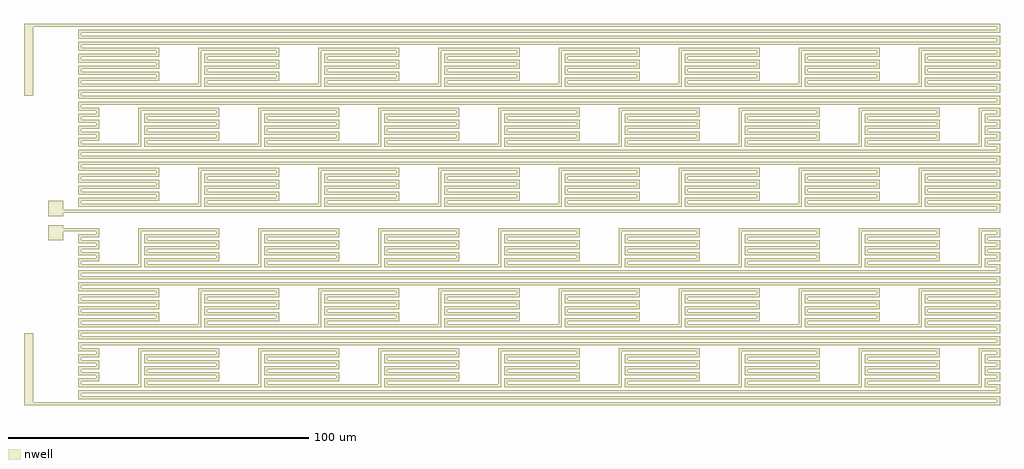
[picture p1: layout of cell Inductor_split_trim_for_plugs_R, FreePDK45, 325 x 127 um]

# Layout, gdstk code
import gdstk
lib = gdstk.Library(unit=1e-6, precision=1e-09)
def R(c, l, rs):  # rectangles x0, y0, x1, y1
    for r in rs: c.add(gdstk.rectangle(r[:2], r[2:], *l))
def P(c, l, *ps):  # polygons
    for p in ps: c.add(gdstk.Polygon(p, *l))
nwell = (3, 0)

inductor_split_trim_for_ = lib.new_cell('Inductor_split_trim_for_plugs_R')
R(inductor_split_trim_for_, nwell, [(-162.5,-63.5,-144.5,-62.5), (-144.5,-63.5,22.5,-62.5), (-162.5,-63,-159.5,-39.5), (-154.5,-8.5,-149.5,-3.5), (-149.5,-5.5,-144.5,-4.5), (-154.5,-0.5,-149.5,4.5), (-149.5,0.5,-144.5,1.5), (-144.5,0.5,17.5,1.5), (-162.5,39.5,-159.5,63), (-162.5,62.5,-144.5,63.5), (-144.5,62.5,2.5,63.5)])
P(inductor_split_trim_for_, nwell, [(-137.5,29.5),(-137.5,28.5),(-143.5,28.5),(-143.5,27.5),(-137.5,27.5),(-137.5,24.5),(-143.5,24.5),(-143.5,23.5),(-124.5,23.5),(-124.5,29.5),(-123.5,29.5),(-123.5,22.5),(-144.5,22.5),(-144.5,25.5),(-138.5,25.5),(-138.5,26.5),(-144.5,26.5),(-144.5,29.5)],
  [(-97.5,29.5),(-97.5,28.5),(-121.5,28.5),(-121.5,27.5),(-97.5,27.5),(-97.5,24.5),(-121.5,24.5),(-121.5,23.5),(-84.5,23.5),(-84.5,29.5),(-83.5,29.5),(-83.5,22.5),(-122.5,22.5),(-122.5,25.5),(-98.5,25.5),(-98.5,26.5),(-122.5,26.5),(-122.5,29.5)],
  [(-57.5,29.5),(-57.5,28.5),(-81.5,28.5),(-81.5,27.5),(-57.5,27.5),(-57.5,24.5),(-81.5,24.5),(-81.5,23.5),(-44.5,23.5),(-44.5,29.5),(-43.5,29.5),(-43.5,22.5),(-82.5,22.5),(-82.5,25.5),(-58.5,25.5),(-58.5,26.5),(-82.5,26.5),(-82.5,29.5)],
  [(-17.5,29.5),(-17.5,28.5),(-41.5,28.5),(-41.5,27.5),(-17.5,27.5),(-17.5,24.5),(-41.5,24.5),(-41.5,23.5),(-4.5,23.5),(-4.5,29.5),(-3.5,29.5),(-3.5,22.5),(-42.5,22.5),(-42.5,25.5),(-18.5,25.5),(-18.5,26.5),(-42.5,26.5),(-42.5,29.5)],
  [(22.5,29.5),(22.5,28.5),(-1.5,28.5),(-1.5,27.5),(22.5,27.5),(22.5,24.5),(-1.5,24.5),(-1.5,23.5),(35.5,23.5),(35.5,29.5),(36.5,29.5),(36.5,22.5),(-2.5,22.5),(-2.5,25.5),(21.5,25.5),(21.5,26.5),(-2.5,26.5),(-2.5,29.5)],
  [(62.5,29.5),(62.5,28.5),(38.5,28.5),(38.5,27.5),(62.5,27.5),(62.5,24.5),(38.5,24.5),(38.5,23.5),(75.5,23.5),(75.5,29.5),(76.5,29.5),(76.5,22.5),(37.5,22.5),(37.5,25.5),(61.5,25.5),(61.5,26.5),(37.5,26.5),(37.5,29.5)],
  [(102.5,29.5),(102.5,28.5),(78.5,28.5),(78.5,27.5),(102.5,27.5),(102.5,24.5),(78.5,24.5),(78.5,23.5),(115.5,23.5),(115.5,29.5),(116.5,29.5),(116.5,22.5),(77.5,22.5),(77.5,25.5),(101.5,25.5),(101.5,26.5),(77.5,26.5),(77.5,29.5)],
  [(142.5,29.5),(142.5,28.5),(118.5,28.5),(118.5,27.5),(142.5,27.5),(142.5,24.5),(118.5,24.5),(118.5,23.5),(155.5,23.5),(155.5,29.5),(156.5,29.5),(156.5,22.5),(117.5,22.5),(117.5,25.5),(141.5,25.5),(141.5,26.5),(117.5,26.5),(117.5,29.5)],
  [(-124.5,29.5),(-124.5,35.5),(-97.5,35.5),(-97.5,32.5),(-121.5,32.5),(-121.5,31.5),(-97.5,31.5),(-97.5,29.5),(-98.5,29.5),(-98.5,30.5),(-122.5,30.5),(-122.5,33.5),(-98.5,33.5),(-98.5,34.5),(-123.5,34.5),(-123.5,29.5)],
  [(-84.5,29.5),(-84.5,35.5),(-57.5,35.5),(-57.5,32.5),(-81.5,32.5),(-81.5,31.5),(-57.5,31.5),(-57.5,29.5),(-58.5,29.5),(-58.5,30.5),(-82.5,30.5),(-82.5,33.5),(-58.5,33.5),(-58.5,34.5),(-83.5,34.5),(-83.5,29.5)],
  [(-44.5,29.5),(-44.5,35.5),(-17.5,35.5),(-17.5,32.5),(-41.5,32.5),(-41.5,31.5),(-17.5,31.5),(-17.5,29.5),(-18.5,29.5),(-18.5,30.5),(-42.5,30.5),(-42.5,33.5),(-18.5,33.5),(-18.5,34.5),(-43.5,34.5),(-43.5,29.5)],
  [(-4.5,29.5),(-4.5,35.5),(22.5,35.5),(22.5,32.5),(-1.5,32.5),(-1.5,31.5),(22.5,31.5),(22.5,29.5),(21.5,29.5),(21.5,30.5),(-2.5,30.5),(-2.5,33.5),(21.5,33.5),(21.5,34.5),(-3.5,34.5),(-3.5,29.5)],
  [(35.5,29.5),(35.5,35.5),(62.5,35.5),(62.5,32.5),(38.5,32.5),(38.5,31.5),(62.5,31.5),(62.5,29.5),(61.5,29.5),(61.5,30.5),(37.5,30.5),(37.5,33.5),(61.5,33.5),(61.5,34.5),(36.5,34.5),(36.5,29.5)],
  [(75.5,29.5),(75.5,35.5),(102.5,35.5),(102.5,32.5),(78.5,32.5),(78.5,31.5),(102.5,31.5),(102.5,29.5),(101.5,29.5),(101.5,30.5),(77.5,30.5),(77.5,33.5),(101.5,33.5),(101.5,34.5),(76.5,34.5),(76.5,29.5)],
  [(115.5,29.5),(115.5,35.5),(142.5,35.5),(142.5,32.5),(118.5,32.5),(118.5,31.5),(142.5,31.5),(142.5,29.5),(141.5,29.5),(141.5,30.5),(117.5,30.5),(117.5,33.5),(141.5,33.5),(141.5,34.5),(116.5,34.5),(116.5,29.5)],
  [(155.5,29.5),(155.5,35.5),(162.5,35.5),(162.5,32.5),(158.5,32.5),(158.5,31.5),(162.5,31.5),(162.5,29.5),(161.5,29.5),(161.5,30.5),(157.5,30.5),(157.5,33.5),(161.5,33.5),(161.5,34.5),(156.5,34.5),(156.5,29.5)],
  [(17.5,14.5),(16.5,14.5),(16.5,2.5),(-22.5,2.5),(-22.5,5.5),(1.5,5.5),(1.5,6.5),(-22.5,6.5),(-22.5,9.5),(1.5,9.5),(1.5,10.5),(-22.5,10.5),(-22.5,13.5),(1.5,13.5),(1.5,14.5),(-23.5,14.5),(-23.5,2.5),(-62.5,2.5),(-62.5,5.5),(-38.5,5.5),(-38.5,6.5),(-62.5,6.5),(-62.5,9.5),(-38.5,9.5),(-38.5,10.5),(-62.5,10.5),(-62.5,13.5),(-38.5,13.5),(-38.5,14.5),(-63.5,14.5),(-63.5,2.5),(-102.5,2.5),(-102.5,5.5),(-78.5,5.5),(-78.5,6.5),(-102.5,6.5),(-102.5,9.5),(-78.5,9.5),(-78.5,10.5),(-102.5,10.5),(-102.5,13.5),(-78.5,13.5),(-78.5,14.5),(-103.5,14.5),(-103.5,2.5),(-144.5,2.5),(-144.5,5.5),(-118.5,5.5),(-118.5,6.5),(-144.5,6.5),(-144.5,9.5),(-118.5,9.5),(-118.5,10.5),(-144.5,10.5),(-144.5,13.5),(-118.5,13.5),(-118.5,14.5),(-144.5,14.5),(-144.5,17.5),(17.5,17.5),(17.5,16.5),(-143.5,16.5),(-143.5,15.5),(-117.5,15.5),(-117.5,12.5),(-143.5,12.5),(-143.5,11.5),(-117.5,11.5),(-117.5,8.5),(-143.5,8.5),(-143.5,7.5),(-117.5,7.5),(-117.5,4.5),(-143.5,4.5),(-143.5,3.5),(-104.5,3.5),(-104.5,15.5),(-77.5,15.5),(-77.5,12.5),(-101.5,12.5),(-101.5,11.5),(-77.5,11.5),(-77.5,8.5),(-101.5,8.5),(-101.5,7.5),(-77.5,7.5),(-77.5,4.5),(-101.5,4.5),(-101.5,3.5),(-64.5,3.5),(-64.5,15.5),(-37.5,15.5),(-37.5,12.5),(-61.5,12.5),(-61.5,11.5),(-37.5,11.5),(-37.5,8.5),(-61.5,8.5),(-61.5,7.5),(-37.5,7.5),(-37.5,4.5),(-61.5,4.5),(-61.5,3.5),(-24.5,3.5),(-24.5,15.5),(2.5,15.5),(2.5,12.5),(-21.5,12.5),(-21.5,11.5),(2.5,11.5),(2.5,8.5),(-21.5,8.5),(-21.5,7.5),(2.5,7.5),(2.5,4.5),(-21.5,4.5),(-21.5,3.5),(15.5,3.5),(15.5,15.5),(17.5,15.5)],
  [(17.5,18.5),(-144.5,18.5),(-144.5,21.5),(17.5,21.5),(17.5,20.5),(-143.5,20.5),(-143.5,19.5),(17.5,19.5)],
  [(17.5,1.5),(161.5,1.5),(161.5,2.5),(137.5,2.5),(137.5,5.5),(161.5,5.5),(161.5,6.5),(137.5,6.5),(137.5,9.5),(161.5,9.5),(161.5,10.5),(137.5,10.5),(137.5,13.5),(161.5,13.5),(161.5,14.5),(136.5,14.5),(136.5,2.5),(97.5,2.5),(97.5,5.5),(121.5,5.5),(121.5,6.5),(97.5,6.5),(97.5,9.5),(121.5,9.5),(121.5,10.5),(97.5,10.5),(97.5,13.5),(121.5,13.5),(121.5,14.5),(96.5,14.5),(96.5,2.5),(57.5,2.5),(57.5,5.5),(81.5,5.5),(81.5,6.5),(57.5,6.5),(57.5,9.5),(81.5,9.5),(81.5,10.5),(57.5,10.5),(57.5,13.5),(81.5,13.5),(81.5,14.5),(56.5,14.5),(56.5,2.5),(17.5,2.5),(17.5,5.5),(41.5,5.5),(41.5,6.5),(17.5,6.5),(17.5,9.5),(41.5,9.5),(41.5,10.5),(17.5,10.5),(17.5,13.5),(41.5,13.5),(41.5,14.5),(17.5,14.5),(17.5,15.5),(42.5,15.5),(42.5,12.5),(18.5,12.5),(18.5,11.5),(42.5,11.5),(42.5,8.5),(18.5,8.5),(18.5,7.5),(42.5,7.5),(42.5,4.5),(18.5,4.5),(18.5,3.5),(55.5,3.5),(55.5,15.5),(82.5,15.5),(82.5,12.5),(58.5,12.5),(58.5,11.5),(82.5,11.5),(82.5,8.5),(58.5,8.5),(58.5,7.5),(82.5,7.5),(82.5,4.5),(58.5,4.5),(58.5,3.5),(95.5,3.5),(95.5,15.5),(122.5,15.5),(122.5,12.5),(98.5,12.5),(98.5,11.5),(122.5,11.5),(122.5,8.5),(98.5,8.5),(98.5,7.5),(122.5,7.5),(122.5,4.5),(98.5,4.5),(98.5,3.5),(135.5,3.5),(135.5,15.5),(162.5,15.5),(162.5,12.5),(138.5,12.5),(138.5,11.5),(162.5,11.5),(162.5,8.5),(138.5,8.5),(138.5,7.5),(162.5,7.5),(162.5,4.5),(138.5,4.5),(138.5,3.5),(162.5,3.5),(162.5,0.5),(17.5,0.5)],
  [(17.5,17.5),(161.5,17.5),(161.5,18.5),(17.5,18.5),(17.5,19.5),(162.5,19.5),(162.5,16.5),(17.5,16.5)],
  [(17.5,21.5),(161.5,21.5),(161.5,22.5),(157.5,22.5),(157.5,25.5),(161.5,25.5),(161.5,26.5),(157.5,26.5),(157.5,29.5),(162.5,29.5),(162.5,28.5),(158.5,28.5),(158.5,27.5),(162.5,27.5),(162.5,24.5),(158.5,24.5),(158.5,23.5),(162.5,23.5),(162.5,20.5),(17.5,20.5)],
  [(2.5,36.5),(-143.5,36.5),(-143.5,35.5),(-137.5,35.5),(-137.5,32.5),(-143.5,32.5),(-143.5,31.5),(-137.5,31.5),(-137.5,29.5),(-138.5,29.5),(-138.5,30.5),(-144.5,30.5),(-144.5,33.5),(-138.5,33.5),(-138.5,34.5),(-144.5,34.5),(-144.5,37.5),(2.5,37.5)],
  [(2.5,38.5),(-144.5,38.5),(-144.5,41.5),(2.5,41.5),(2.5,40.5),(-143.5,40.5),(-143.5,39.5),(2.5,39.5)],
  [(2.5,42.5),(-22.5,42.5),(-22.5,45.5),(1.5,45.5),(1.5,46.5),(-22.5,46.5),(-22.5,49.5),(1.5,49.5),(1.5,50.5),(-22.5,50.5),(-22.5,53.5),(1.5,53.5),(1.5,54.5),(-23.5,54.5),(-23.5,42.5),(-62.5,42.5),(-62.5,45.5),(-38.5,45.5),(-38.5,46.5),(-62.5,46.5),(-62.5,49.5),(-38.5,49.5),(-38.5,50.5),(-62.5,50.5),(-62.5,53.5),(-38.5,53.5),(-38.5,54.5),(-63.5,54.5),(-63.5,42.5),(-102.5,42.5),(-102.5,45.5),(-78.5,45.5),(-78.5,46.5),(-102.5,46.5),(-102.5,49.5),(-78.5,49.5),(-78.5,50.5),(-102.5,50.5),(-102.5,53.5),(-78.5,53.5),(-78.5,54.5),(-103.5,54.5),(-103.5,42.5),(-144.5,42.5),(-144.5,45.5),(-118.5,45.5),(-118.5,46.5),(-144.5,46.5),(-144.5,49.5),(-118.5,49.5),(-118.5,50.5),(-144.5,50.5),(-144.5,53.5),(-118.5,53.5),(-118.5,54.5),(-144.5,54.5),(-144.5,57.5),(2.5,57.5),(2.5,56.5),(-143.5,56.5),(-143.5,55.5),(-117.5,55.5),(-117.5,52.5),(-143.5,52.5),(-143.5,51.5),(-117.5,51.5),(-117.5,48.5),(-143.5,48.5),(-143.5,47.5),(-117.5,47.5),(-117.5,44.5),(-143.5,44.5),(-143.5,43.5),(-104.5,43.5),(-104.5,55.5),(-77.5,55.5),(-77.5,52.5),(-101.5,52.5),(-101.5,51.5),(-77.5,51.5),(-77.5,48.5),(-101.5,48.5),(-101.5,47.5),(-77.5,47.5),(-77.5,44.5),(-101.5,44.5),(-101.5,43.5),(-64.5,43.5),(-64.5,55.5),(-37.5,55.5),(-37.5,52.5),(-61.5,52.5),(-61.5,51.5),(-37.5,51.5),(-37.5,48.5),(-61.5,48.5),(-61.5,47.5),(-37.5,47.5),(-37.5,44.5),(-61.5,44.5),(-61.5,43.5),(-24.5,43.5),(-24.5,55.5),(2.5,55.5),(2.5,52.5),(-21.5,52.5),(-21.5,51.5),(2.5,51.5),(2.5,48.5),(-21.5,48.5),(-21.5,47.5),(2.5,47.5),(2.5,44.5),(-21.5,44.5),(-21.5,43.5),(2.5,43.5)],
  [(2.5,58.5),(-144.5,58.5),(-144.5,61.5),(2.5,61.5),(2.5,60.5),(-143.5,60.5),(-143.5,59.5),(2.5,59.5)],
  [(2.5,37.5),(161.5,37.5),(161.5,38.5),(2.5,38.5),(2.5,39.5),(162.5,39.5),(162.5,36.5),(2.5,36.5)],
  [(2.5,41.5),(161.5,41.5),(161.5,42.5),(137.5,42.5),(137.5,45.5),(161.5,45.5),(161.5,46.5),(137.5,46.5),(137.5,49.5),(161.5,49.5),(161.5,50.5),(137.5,50.5),(137.5,53.5),(161.5,53.5),(161.5,54.5),(136.5,54.5),(136.5,42.5),(97.5,42.5),(97.5,45.5),(121.5,45.5),(121.5,46.5),(97.5,46.5),(97.5,49.5),(121.5,49.5),(121.5,50.5),(97.5,50.5),(97.5,53.5),(121.5,53.5),(121.5,54.5),(96.5,54.5),(96.5,42.5),(57.5,42.5),(57.5,45.5),(81.5,45.5),(81.5,46.5),(57.5,46.5),(57.5,49.5),(81.5,49.5),(81.5,50.5),(57.5,50.5),(57.5,53.5),(81.5,53.5),(81.5,54.5),(56.5,54.5),(56.5,42.5),(17.5,42.5),(17.5,45.5),(41.5,45.5),(41.5,46.5),(17.5,46.5),(17.5,49.5),(41.5,49.5),(41.5,50.5),(17.5,50.5),(17.5,53.5),(41.5,53.5),(41.5,54.5),(16.5,54.5),(16.5,42.5),(2.5,42.5),(2.5,43.5),(15.5,43.5),(15.5,55.5),(42.5,55.5),(42.5,52.5),(18.5,52.5),(18.5,51.5),(42.5,51.5),(42.5,48.5),(18.5,48.5),(18.5,47.5),(42.5,47.5),(42.5,44.5),(18.5,44.5),(18.5,43.5),(55.5,43.5),(55.5,55.5),(82.5,55.5),(82.5,52.5),(58.5,52.5),(58.5,51.5),(82.5,51.5),(82.5,48.5),(58.5,48.5),(58.5,47.5),(82.5,47.5),(82.5,44.5),(58.5,44.5),(58.5,43.5),(95.5,43.5),(95.5,55.5),(122.5,55.5),(122.5,52.5),(98.5,52.5),(98.5,51.5),(122.5,51.5),(122.5,48.5),(98.5,48.5),(98.5,47.5),(122.5,47.5),(122.5,44.5),(98.5,44.5),(98.5,43.5),(135.5,43.5),(135.5,55.5),(162.5,55.5),(162.5,52.5),(138.5,52.5),(138.5,51.5),(162.5,51.5),(162.5,48.5),(138.5,48.5),(138.5,47.5),(162.5,47.5),(162.5,44.5),(138.5,44.5),(138.5,43.5),(162.5,43.5),(162.5,40.5),(2.5,40.5)],
  [(2.5,57.5),(161.5,57.5),(161.5,58.5),(2.5,58.5),(2.5,59.5),(162.5,59.5),(162.5,56.5),(2.5,56.5)],
  [(2.5,61.5),(161.5,61.5),(161.5,62.5),(2.5,62.5),(2.5,63.5),(162.5,63.5),(162.5,60.5),(2.5,60.5)],
  [(-143.5,-31.5),(-143.5,-32.5),(-117.5,-32.5),(-117.5,-35.5),(-143.5,-35.5),(-143.5,-36.5),(-104.5,-36.5),(-104.5,-31.5),(-103.5,-31.5),(-103.5,-37.5),(-144.5,-37.5),(-144.5,-34.5),(-118.5,-34.5),(-118.5,-33.5),(-144.5,-33.5),(-144.5,-31.5)],
  [(-101.5,-31.5),(-101.5,-32.5),(-77.5,-32.5),(-77.5,-35.5),(-101.5,-35.5),(-101.5,-36.5),(-64.5,-36.5),(-64.5,-31.5),(-63.5,-31.5),(-63.5,-37.5),(-102.5,-37.5),(-102.5,-34.5),(-78.5,-34.5),(-78.5,-33.5),(-102.5,-33.5),(-102.5,-31.5)],
  [(-61.5,-31.5),(-61.5,-32.5),(-37.5,-32.5),(-37.5,-35.5),(-61.5,-35.5),(-61.5,-36.5),(-24.5,-36.5),(-24.5,-31.5),(-23.5,-31.5),(-23.5,-37.5),(-62.5,-37.5),(-62.5,-34.5),(-38.5,-34.5),(-38.5,-33.5),(-62.5,-33.5),(-62.5,-31.5)],
  [(-21.5,-31.5),(-21.5,-32.5),(2.5,-32.5),(2.5,-35.5),(-21.5,-35.5),(-21.5,-36.5),(15.5,-36.5),(15.5,-31.5),(16.5,-31.5),(16.5,-37.5),(-22.5,-37.5),(-22.5,-34.5),(1.5,-34.5),(1.5,-33.5),(-22.5,-33.5),(-22.5,-31.5)],
  [(18.5,-31.5),(18.5,-32.5),(42.5,-32.5),(42.5,-35.5),(18.5,-35.5),(18.5,-36.5),(55.5,-36.5),(55.5,-31.5),(56.5,-31.5),(56.5,-37.5),(17.5,-37.5),(17.5,-34.5),(41.5,-34.5),(41.5,-33.5),(17.5,-33.5),(17.5,-31.5)],
  [(58.5,-31.5),(58.5,-32.5),(82.5,-32.5),(82.5,-35.5),(58.5,-35.5),(58.5,-36.5),(95.5,-36.5),(95.5,-31.5),(96.5,-31.5),(96.5,-37.5),(57.5,-37.5),(57.5,-34.5),(81.5,-34.5),(81.5,-33.5),(57.5,-33.5),(57.5,-31.5)],
  [(98.5,-31.5),(98.5,-32.5),(122.5,-32.5),(122.5,-35.5),(98.5,-35.5),(98.5,-36.5),(135.5,-36.5),(135.5,-31.5),(136.5,-31.5),(136.5,-37.5),(97.5,-37.5),(97.5,-34.5),(121.5,-34.5),(121.5,-33.5),(97.5,-33.5),(97.5,-31.5)],
  [(-104.5,-31.5),(-104.5,-24.5),(-77.5,-24.5),(-77.5,-27.5),(-101.5,-27.5),(-101.5,-28.5),(-77.5,-28.5),(-77.5,-31.5),(-102.5,-31.5),(-102.5,-30.5),(-78.5,-30.5),(-78.5,-29.5),(-102.5,-29.5),(-102.5,-26.5),(-78.5,-26.5),(-78.5,-25.5),(-103.5,-25.5),(-103.5,-31.5)],
  [(-64.5,-31.5),(-64.5,-24.5),(-37.5,-24.5),(-37.5,-27.5),(-61.5,-27.5),(-61.5,-28.5),(-37.5,-28.5),(-37.5,-31.5),(-62.5,-31.5),(-62.5,-30.5),(-38.5,-30.5),(-38.5,-29.5),(-62.5,-29.5),(-62.5,-26.5),(-38.5,-26.5),(-38.5,-25.5),(-63.5,-25.5),(-63.5,-31.5)],
  [(-24.5,-31.5),(-24.5,-24.5),(2.5,-24.5),(2.5,-27.5),(-21.5,-27.5),(-21.5,-28.5),(2.5,-28.5),(2.5,-31.5),(-22.5,-31.5),(-22.5,-30.5),(1.5,-30.5),(1.5,-29.5),(-22.5,-29.5),(-22.5,-26.5),(1.5,-26.5),(1.5,-25.5),(-23.5,-25.5),(-23.5,-31.5)],
  [(15.5,-31.5),(15.5,-24.5),(42.5,-24.5),(42.5,-27.5),(18.5,-27.5),(18.5,-28.5),(42.5,-28.5),(42.5,-31.5),(17.5,-31.5),(17.5,-30.5),(41.5,-30.5),(41.5,-29.5),(17.5,-29.5),(17.5,-26.5),(41.5,-26.5),(41.5,-25.5),(16.5,-25.5),(16.5,-31.5)],
  [(55.5,-31.5),(55.5,-24.5),(82.5,-24.5),(82.5,-27.5),(58.5,-27.5),(58.5,-28.5),(82.5,-28.5),(82.5,-31.5),(57.5,-31.5),(57.5,-30.5),(81.5,-30.5),(81.5,-29.5),(57.5,-29.5),(57.5,-26.5),(81.5,-26.5),(81.5,-25.5),(56.5,-25.5),(56.5,-31.5)],
  [(95.5,-31.5),(95.5,-24.5),(122.5,-24.5),(122.5,-27.5),(98.5,-27.5),(98.5,-28.5),(122.5,-28.5),(122.5,-31.5),(97.5,-31.5),(97.5,-30.5),(121.5,-30.5),(121.5,-29.5),(97.5,-29.5),(97.5,-26.5),(121.5,-26.5),(121.5,-25.5),(96.5,-25.5),(96.5,-31.5)],
  [(135.5,-31.5),(135.5,-24.5),(162.5,-24.5),(162.5,-27.5),(138.5,-27.5),(138.5,-28.5),(162.5,-28.5),(162.5,-31.5),(137.5,-31.5),(137.5,-30.5),(161.5,-30.5),(161.5,-29.5),(137.5,-29.5),(137.5,-26.5),(161.5,-26.5),(161.5,-25.5),(136.5,-25.5),(136.5,-31.5)],
  [(22.5,-61.5),(-144.5,-61.5),(-144.5,-58.5),(22.5,-58.5),(22.5,-59.5),(-143.5,-59.5),(-143.5,-60.5),(22.5,-60.5)],
  [(22.5,-57.5),(-2.5,-57.5),(-2.5,-54.5),(21.5,-54.5),(21.5,-53.5),(-2.5,-53.5),(-2.5,-50.5),(21.5,-50.5),(21.5,-49.5),(-2.5,-49.5),(-2.5,-46.5),(21.5,-46.5),(21.5,-45.5),(-3.5,-45.5),(-3.5,-57.5),(-42.5,-57.5),(-42.5,-54.5),(-18.5,-54.5),(-18.5,-53.5),(-42.5,-53.5),(-42.5,-50.5),(-18.5,-50.5),(-18.5,-49.5),(-42.5,-49.5),(-42.5,-46.5),(-18.5,-46.5),(-18.5,-45.5),(-43.5,-45.5),(-43.5,-57.5),(-82.5,-57.5),(-82.5,-54.5),(-58.5,-54.5),(-58.5,-53.5),(-82.5,-53.5),(-82.5,-50.5),(-58.5,-50.5),(-58.5,-49.5),(-82.5,-49.5),(-82.5,-46.5),(-58.5,-46.5),(-58.5,-45.5),(-83.5,-45.5),(-83.5,-57.5),(-122.5,-57.5),(-122.5,-54.5),(-98.5,-54.5),(-98.5,-53.5),(-122.5,-53.5),(-122.5,-50.5),(-98.5,-50.5),(-98.5,-49.5),(-122.5,-49.5),(-122.5,-46.5),(-98.5,-46.5),(-98.5,-45.5),(-123.5,-45.5),(-123.5,-57.5),(-144.5,-57.5),(-144.5,-54.5),(-138.5,-54.5),(-138.5,-53.5),(-144.5,-53.5),(-144.5,-50.5),(-138.5,-50.5),(-138.5,-49.5),(-144.5,-49.5),(-144.5,-46.5),(-138.5,-46.5),(-138.5,-45.5),(-144.5,-45.5),(-144.5,-42.5),(22.5,-42.5),(22.5,-43.5),(-143.5,-43.5),(-143.5,-44.5),(-137.5,-44.5),(-137.5,-47.5),(-143.5,-47.5),(-143.5,-48.5),(-137.5,-48.5),(-137.5,-51.5),(-143.5,-51.5),(-143.5,-52.5),(-137.5,-52.5),(-137.5,-55.5),(-143.5,-55.5),(-143.5,-56.5),(-124.5,-56.5),(-124.5,-44.5),(-97.5,-44.5),(-97.5,-47.5),(-121.5,-47.5),(-121.5,-48.5),(-97.5,-48.5),(-97.5,-51.5),(-121.5,-51.5),(-121.5,-52.5),(-97.5,-52.5),(-97.5,-55.5),(-121.5,-55.5),(-121.5,-56.5),(-84.5,-56.5),(-84.5,-44.5),(-57.5,-44.5),(-57.5,-47.5),(-81.5,-47.5),(-81.5,-48.5),(-57.5,-48.5),(-57.5,-51.5),(-81.5,-51.5),(-81.5,-52.5),(-57.5,-52.5),(-57.5,-55.5),(-81.5,-55.5),(-81.5,-56.5),(-44.5,-56.5),(-44.5,-44.5),(-17.5,-44.5),(-17.5,-47.5),(-41.5,-47.5),(-41.5,-48.5),(-17.5,-48.5),(-17.5,-51.5),(-41.5,-51.5),(-41.5,-52.5),(-17.5,-52.5),(-17.5,-55.5),(-41.5,-55.5),(-41.5,-56.5),(-4.5,-56.5),(-4.5,-44.5),(22.5,-44.5),(22.5,-47.5),(-1.5,-47.5),(-1.5,-48.5),(22.5,-48.5),(22.5,-51.5),(-1.5,-51.5),(-1.5,-52.5),(22.5,-52.5),(22.5,-55.5),(-1.5,-55.5),(-1.5,-56.5),(22.5,-56.5)],
  [(22.5,-41.5),(-144.5,-41.5),(-144.5,-38.5),(22.5,-38.5),(22.5,-39.5),(-143.5,-39.5),(-143.5,-40.5),(22.5,-40.5)],
  [(22.5,-62.5),(161.5,-62.5),(161.5,-61.5),(22.5,-61.5),(22.5,-60.5),(162.5,-60.5),(162.5,-63.5),(22.5,-63.5)],
  [(22.5,-58.5),(161.5,-58.5),(161.5,-57.5),(157.5,-57.5),(157.5,-54.5),(161.5,-54.5),(161.5,-53.5),(157.5,-53.5),(157.5,-50.5),(161.5,-50.5),(161.5,-49.5),(157.5,-49.5),(157.5,-46.5),(161.5,-46.5),(161.5,-45.5),(156.5,-45.5),(156.5,-57.5),(117.5,-57.5),(117.5,-54.5),(141.5,-54.5),(141.5,-53.5),(117.5,-53.5),(117.5,-50.5),(141.5,-50.5),(141.5,-49.5),(117.5,-49.5),(117.5,-46.5),(141.5,-46.5),(141.5,-45.5),(116.5,-45.5),(116.5,-57.5),(77.5,-57.5),(77.5,-54.5),(101.5,-54.5),(101.5,-53.5),(77.5,-53.5),(77.5,-50.5),(101.5,-50.5),(101.5,-49.5),(77.5,-49.5),(77.5,-46.5),(101.5,-46.5),(101.5,-45.5),(76.5,-45.5),(76.5,-57.5),(37.5,-57.5),(37.5,-54.5),(61.5,-54.5),(61.5,-53.5),(37.5,-53.5),(37.5,-50.5),(61.5,-50.5),(61.5,-49.5),(37.5,-49.5),(37.5,-46.5),(61.5,-46.5),(61.5,-45.5),(36.5,-45.5),(36.5,-57.5),(22.5,-57.5),(22.5,-56.5),(35.5,-56.5),(35.5,-44.5),(62.5,-44.5),(62.5,-47.5),(38.5,-47.5),(38.5,-48.5),(62.5,-48.5),(62.5,-51.5),(38.5,-51.5),(38.5,-52.5),(62.5,-52.5),(62.5,-55.5),(38.5,-55.5),(38.5,-56.5),(75.5,-56.5),(75.5,-44.5),(102.5,-44.5),(102.5,-47.5),(78.5,-47.5),(78.5,-48.5),(102.5,-48.5),(102.5,-51.5),(78.5,-51.5),(78.5,-52.5),(102.5,-52.5),(102.5,-55.5),(78.5,-55.5),(78.5,-56.5),(115.5,-56.5),(115.5,-44.5),(142.5,-44.5),(142.5,-47.5),(118.5,-47.5),(118.5,-48.5),(142.5,-48.5),(142.5,-51.5),(118.5,-51.5),(118.5,-52.5),(142.5,-52.5),(142.5,-55.5),(118.5,-55.5),(118.5,-56.5),(155.5,-56.5),(155.5,-44.5),(162.5,-44.5),(162.5,-47.5),(158.5,-47.5),(158.5,-48.5),(162.5,-48.5),(162.5,-51.5),(158.5,-51.5),(158.5,-52.5),(162.5,-52.5),(162.5,-55.5),(158.5,-55.5),(158.5,-56.5),(162.5,-56.5),(162.5,-59.5),(22.5,-59.5)],
  [(22.5,-42.5),(161.5,-42.5),(161.5,-41.5),(22.5,-41.5),(22.5,-40.5),(162.5,-40.5),(162.5,-43.5),(22.5,-43.5)],
  [(22.5,-38.5),(161.5,-38.5),(161.5,-37.5),(137.5,-37.5),(137.5,-34.5),(161.5,-34.5),(161.5,-33.5),(137.5,-33.5),(137.5,-31.5),(138.5,-31.5),(138.5,-32.5),(162.5,-32.5),(162.5,-35.5),(138.5,-35.5),(138.5,-36.5),(162.5,-36.5),(162.5,-39.5),(22.5,-39.5)],
  [(-2.5,-23.5),(-143.5,-23.5),(-143.5,-24.5),(-117.5,-24.5),(-117.5,-27.5),(-143.5,-27.5),(-143.5,-28.5),(-117.5,-28.5),(-117.5,-31.5),(-144.5,-31.5),(-144.5,-30.5),(-118.5,-30.5),(-118.5,-29.5),(-144.5,-29.5),(-144.5,-26.5),(-118.5,-26.5),(-118.5,-25.5),(-144.5,-25.5),(-144.5,-22.5),(-2.5,-22.5)],
  [(-2.5,-21.5),(-144.5,-21.5),(-144.5,-18.5),(-2.5,-18.5),(-2.5,-19.5),(-143.5,-19.5),(-143.5,-20.5),(-2.5,-20.5)],
  [(-2.5,-5.5),(-3.5,-5.5),(-3.5,-17.5),(-42.5,-17.5),(-42.5,-14.5),(-18.5,-14.5),(-18.5,-13.5),(-42.5,-13.5),(-42.5,-10.5),(-18.5,-10.5),(-18.5,-9.5),(-42.5,-9.5),(-42.5,-6.5),(-18.5,-6.5),(-18.5,-5.5),(-43.5,-5.5),(-43.5,-17.5),(-82.5,-17.5),(-82.5,-14.5),(-58.5,-14.5),(-58.5,-13.5),(-82.5,-13.5),(-82.5,-10.5),(-58.5,-10.5),(-58.5,-9.5),(-82.5,-9.5),(-82.5,-6.5),(-58.5,-6.5),(-58.5,-5.5),(-83.5,-5.5),(-83.5,-17.5),(-122.5,-17.5),(-122.5,-14.5),(-98.5,-14.5),(-98.5,-13.5),(-122.5,-13.5),(-122.5,-10.5),(-98.5,-10.5),(-98.5,-9.5),(-122.5,-9.5),(-122.5,-6.5),(-98.5,-6.5),(-98.5,-5.5),(-123.5,-5.5),(-123.5,-17.5),(-144.5,-17.5),(-144.5,-14.5),(-138.5,-14.5),(-138.5,-13.5),(-144.5,-13.5),(-144.5,-10.5),(-138.5,-10.5),(-138.5,-9.5),(-144.5,-9.5),(-144.5,-6.5),(-138.5,-6.5),(-138.5,-5.5),(-144.5,-5.5),(-144.5,-4.5),(-137.5,-4.5),(-137.5,-7.5),(-143.5,-7.5),(-143.5,-8.5),(-137.5,-8.5),(-137.5,-11.5),(-143.5,-11.5),(-143.5,-12.5),(-137.5,-12.5),(-137.5,-15.5),(-143.5,-15.5),(-143.5,-16.5),(-124.5,-16.5),(-124.5,-4.5),(-97.5,-4.5),(-97.5,-7.5),(-121.5,-7.5),(-121.5,-8.5),(-97.5,-8.5),(-97.5,-11.5),(-121.5,-11.5),(-121.5,-12.5),(-97.5,-12.5),(-97.5,-15.5),(-121.5,-15.5),(-121.5,-16.5),(-84.5,-16.5),(-84.5,-4.5),(-57.5,-4.5),(-57.5,-7.5),(-81.5,-7.5),(-81.5,-8.5),(-57.5,-8.5),(-57.5,-11.5),(-81.5,-11.5),(-81.5,-12.5),(-57.5,-12.5),(-57.5,-15.5),(-81.5,-15.5),(-81.5,-16.5),(-44.5,-16.5),(-44.5,-4.5),(-17.5,-4.5),(-17.5,-7.5),(-41.5,-7.5),(-41.5,-8.5),(-17.5,-8.5),(-17.5,-11.5),(-41.5,-11.5),(-41.5,-12.5),(-17.5,-12.5),(-17.5,-15.5),(-41.5,-15.5),(-41.5,-16.5),(-4.5,-16.5),(-4.5,-4.5),(-2.5,-4.5)],
  [(-2.5,-22.5),(161.5,-22.5),(161.5,-21.5),(-2.5,-21.5),(-2.5,-20.5),(162.5,-20.5),(162.5,-23.5),(-2.5,-23.5)],
  [(-2.5,-18.5),(161.5,-18.5),(161.5,-17.5),(157.5,-17.5),(157.5,-14.5),(161.5,-14.5),(161.5,-13.5),(157.5,-13.5),(157.5,-10.5),(161.5,-10.5),(161.5,-9.5),(157.5,-9.5),(157.5,-6.5),(161.5,-6.5),(161.5,-5.5),(156.5,-5.5),(156.5,-17.5),(117.5,-17.5),(117.5,-14.5),(141.5,-14.5),(141.5,-13.5),(117.5,-13.5),(117.5,-10.5),(141.5,-10.5),(141.5,-9.5),(117.5,-9.5),(117.5,-6.5),(141.5,-6.5),(141.5,-5.5),(116.5,-5.5),(116.5,-17.5),(77.5,-17.5),(77.5,-14.5),(101.5,-14.5),(101.5,-13.5),(77.5,-13.5),(77.5,-10.5),(101.5,-10.5),(101.5,-9.5),(77.5,-9.5),(77.5,-6.5),(101.5,-6.5),(101.5,-5.5),(76.5,-5.5),(76.5,-17.5),(37.5,-17.5),(37.5,-14.5),(61.5,-14.5),(61.5,-13.5),(37.5,-13.5),(37.5,-10.5),(61.5,-10.5),(61.5,-9.5),(37.5,-9.5),(37.5,-6.5),(61.5,-6.5),(61.5,-5.5),(36.5,-5.5),(36.5,-17.5),(-2.5,-17.5),(-2.5,-14.5),(21.5,-14.5),(21.5,-13.5),(-2.5,-13.5),(-2.5,-10.5),(21.5,-10.5),(21.5,-9.5),(-2.5,-9.5),(-2.5,-6.5),(21.5,-6.5),(21.5,-5.5),(-2.5,-5.5),(-2.5,-4.5),(22.5,-4.5),(22.5,-7.5),(-1.5,-7.5),(-1.5,-8.5),(22.5,-8.5),(22.5,-11.5),(-1.5,-11.5),(-1.5,-12.5),(22.5,-12.5),(22.5,-15.5),(-1.5,-15.5),(-1.5,-16.5),(35.5,-16.5),(35.5,-4.5),(62.5,-4.5),(62.5,-7.5),(38.5,-7.5),(38.5,-8.5),(62.5,-8.5),(62.5,-11.5),(38.5,-11.5),(38.5,-12.5),(62.5,-12.5),(62.5,-15.5),(38.5,-15.5),(38.5,-16.5),(75.5,-16.5),(75.5,-4.5),(102.5,-4.5),(102.5,-7.5),(78.5,-7.5),(78.5,-8.5),(102.5,-8.5),(102.5,-11.5),(78.5,-11.5),(78.5,-12.5),(102.5,-12.5),(102.5,-15.5),(78.5,-15.5),(78.5,-16.5),(115.5,-16.5),(115.5,-4.5),(142.5,-4.5),(142.5,-7.5),(118.5,-7.5),(118.5,-8.5),(142.5,-8.5),(142.5,-11.5),(118.5,-11.5),(118.5,-12.5),(142.5,-12.5),(142.5,-15.5),(118.5,-15.5),(118.5,-16.5),(155.5,-16.5),(155.5,-4.5),(162.5,-4.5),(162.5,-7.5),(158.5,-7.5),(158.5,-8.5),(162.5,-8.5),(162.5,-11.5),(158.5,-11.5),(158.5,-12.5),(162.5,-12.5),(162.5,-15.5),(158.5,-15.5),(158.5,-16.5),(162.5,-16.5),(162.5,-19.5),(-2.5,-19.5)])

lib.write_gds('Inductor_split_trim_for_plugs_R.gds')
